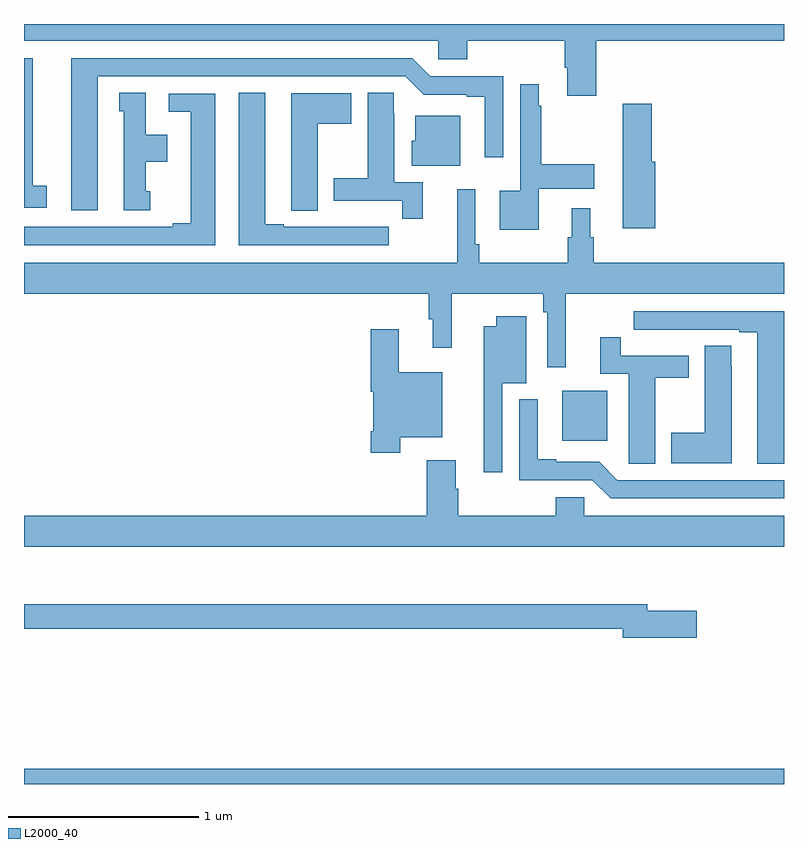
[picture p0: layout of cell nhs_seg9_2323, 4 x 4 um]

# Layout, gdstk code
import gdstk
lib = gdstk.Library(unit=1e-6, precision=1e-09)
def R(c, l, rs):  # rectangles x0, y0, x1, y1
    for r in rs: c.add(gdstk.rectangle(r[:2], r[2:], *l))
def P(c, l, *ps):  # polygons
    for p in ps: c.add(gdstk.Polygon(p, *l))
L2000_40 = (2000, 40)

nhs_seg9_2323 = lib.new_cell('nhs_seg9_2323')
R(nhs_seg9_2323, L2000_40, [(243,1200.5,247,1200.58), (245.834,1202.306,246.07,1202.569)])
P(nhs_seg9_2323, L2000_40, [(246.011,1204.412),(247,1204.412),(247,1204.5),(243,1204.5),(243,1204.412),(245.181,1204.412),(245.181,1204.314),(245.333,1204.314),(245.333,1204.412),(245.846,1204.412),(245.846,1204.27),(245.858,1204.27),(245.858,1204.122),(246.011,1204.122)],
  [(243.388,1204.224),(245.007,1204.224),(245.103,1204.128),(245.33,1204.128),(245.33,1204.116),(245.426,1204.116),(245.426,1203.798),(245.523,1203.798),(245.523,1204.224),(245.139,1204.224),(245.043,1204.32),(243.248,1204.32),(243.248,1203.519),(243.388,1203.519)],
  [(243.121,1203.65),(243.046,1203.65),(243.046,1204.32),(243,1204.32),(243,1203.534),(243.121,1203.534)],
  [(245.71,1203.632),(246.001,1203.632),(246.001,1203.762),(245.722,1203.762),(245.722,1204.07),(245.71,1204.07),(245.71,1204.183),(245.613,1204.183),(245.613,1203.622),(245.504,1203.622),(245.504,1203.416),(245.71,1203.416)],
  [(245.099,1203.666),(244.948,1203.666),(244.948,1204.028),(244.947,1204.028),(244.947,1204.139),(244.808,1204.139),(244.808,1203.687),(244.631,1203.687),(244.631,1203.57),(244.99,1203.57),(244.99,1203.474),(245.099,1203.474)],
  [(243.664,1203.621),(243.64,1203.621),(243.64,1203.776),(243.754,1203.776),(243.754,1203.916),(243.64,1203.916),(243.64,1204.139),(243.5,1204.139),(243.5,1204.041),(243.524,1204.041),(243.524,1203.519),(243.664,1203.519)],
  [(244.921,1203.432),(244.808,1203.432),(244.808,1203.433),(244.642,1203.433),(244.642,1203.432),(244.366,1203.432),(244.366,1203.447),(244.27,1203.447),(244.27,1204.139),(244.13,1204.139),(244.13,1203.336),(244.921,1203.336)],
  [(244.546,1203.976),(244.723,1203.976),(244.723,1204.135),(244.406,1204.135),(244.406,1203.625),(244.407,1203.625),(244.407,1203.517),(244.546,1203.517)],
  [(244.006,1204.134),(243.762,1204.134),(243.762,1204.038),(243.878,1204.038),(243.878,1203.452),(243.782,1203.452),(243.782,1203.432),(243,1203.432),(243,1203.336),(244.006,1203.336)],
  [(246.323,1203.774),(246.305,1203.774),(246.305,1204.081),(246.151,1204.081),(246.151,1203.774),(246.152,1203.774),(246.152,1203.426),(246.323,1203.426)],
  [(245.296,1204.018),(245.06,1204.018),(245.06,1203.885),(245.042,1203.885),(245.042,1203.755),(245.296,1203.755)],
  [(245.852,1203.08),(247,1203.08),(247,1203.244),(245.999,1203.244),(245.999,1203.378),(245.98,1203.378),(245.98,1203.529),(245.882,1203.529),(245.882,1203.378),(245.863,1203.378),(245.863,1203.244),(245.396,1203.244),(245.396,1203.34),(245.376,1203.34),(245.376,1203.631),(245.279,1203.631),(245.279,1203.244),(243,1203.244),(243,1203.08),(245.131,1203.08),(245.131,1202.946),(245.15,1202.946),(245.15,1202.796),(245.25,1202.796),(245.25,1203.08),(245.734,1203.08),(245.734,1202.984),(245.754,1202.984),(245.754,1202.694),(245.852,1202.694)],
  [(247,1202.988),(246.21,1202.988),(246.21,1202.892),(246.322,1202.892),(246.322,1202.891),(246.488,1202.891),(246.488,1202.892),(246.764,1202.892),(246.764,1202.877),(246.86,1202.877),(246.86,1202.185),(247,1202.185)],
  [(245.517,1202.609),(245.644,1202.609),(245.644,1202.962),(245.486,1202.962),(245.486,1202.908),(245.42,1202.908),(245.42,1202.613),(245.419,1202.613),(245.419,1202.142),(245.517,1202.142)],
  [(244.98,1202.324),(245.2,1202.324),(245.2,1202.668),(244.972,1202.668),(244.972,1202.893),(244.826,1202.893),(244.826,1202.564),(244.838,1202.564),(244.838,1202.356),(244.826,1202.356),(244.826,1202.244),(244.98,1202.244)],
  [(246.322,1202.638),(246.499,1202.638),(246.499,1202.754),(246.14,1202.754),(246.14,1202.851),(246.032,1202.851),(246.032,1202.658),(246.182,1202.658),(246.182,1202.296),(246.183,1202.296),(246.183,1202.185),(246.322,1202.185)],
  [(246.724,1202.699),(246.723,1202.699),(246.723,1202.807),(246.584,1202.807),(246.584,1202.349),(246.407,1202.349),(246.407,1202.189),(246.724,1202.189)],
  [(247,1202.1),(246.123,1202.1),(246.027,1202.196),(245.8,1202.196),(245.8,1202.209),(245.704,1202.209),(245.704,1202.524),(245.607,1202.524),(245.607,1202.1),(245.991,1202.1),(246.087,1202.004),(247,1202.004)],
  [(247,1201.912),(245.949,1201.912),(245.949,1202.01),(245.798,1202.01),(245.798,1201.912),(245.285,1201.912),(245.285,1202.054),(245.272,1202.054),(245.272,1202.203),(245.12,1202.203),(245.12,1201.912),(243,1201.912),(243,1201.748),(247,1201.748)],
  [(246.541,1201.413),(246.28,1201.413),(246.28,1201.447),(243,1201.447),(243,1201.318),(246.152,1201.318),(246.152,1201.271),(246.541,1201.271)])

lib.write_gds('nhs_seg9_2323.gds')
